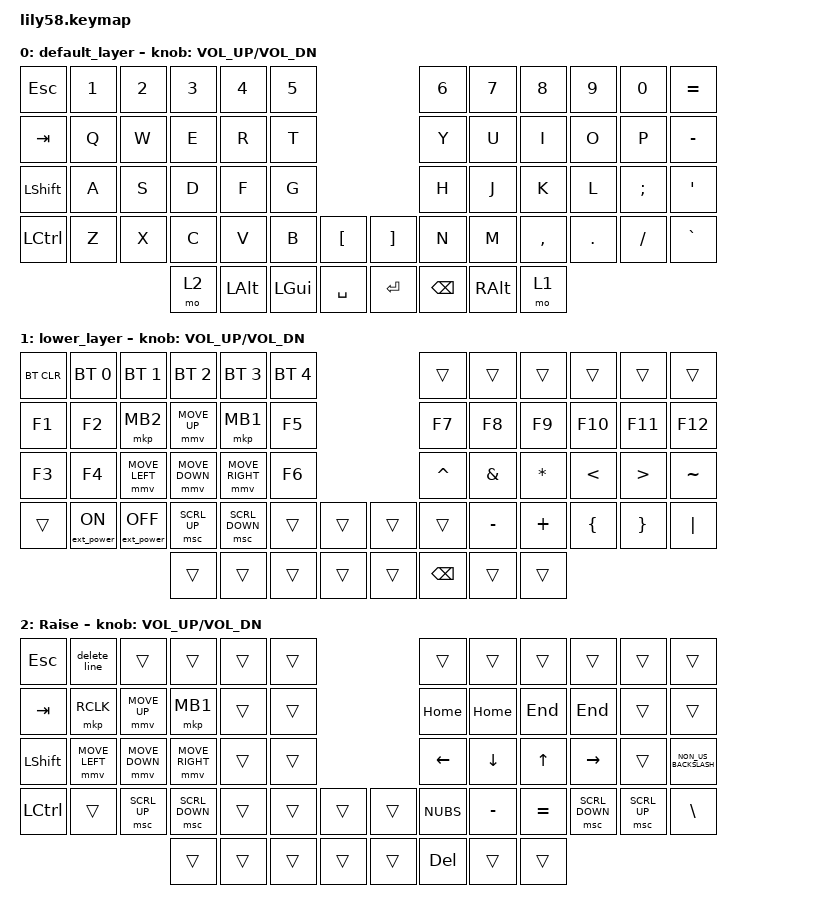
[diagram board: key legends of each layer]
#define ZMK_POINTING_DEFAULT_MOVE_VAL 1500  // default: 600
#define ZMK_POINTING_DEFAULT_SCRL_VAL 20    // default: 10

#include <behaviors.dtsi>
#include <dt-bindings/zmk/bt.h>
#include <dt-bindings/zmk/ext_power.h>
#include <dt-bindings/zmk/keys.h>
#include <dt-bindings/zmk/pointing.h>

/ {
    macros {
        delete_line: delete_line {
            compatible = "zmk,behavior-macro";
            #binding-cells = <0>;
            bindings = <&kp HOME &kp LS(END) &kp DELETE>;
            label = "DELETE_LINE";
        };
    };

    keymap {
        compatible = "zmk,keymap";

        default_layer {
            // ------------------------------------------------------------------------------------------------------------
            // |  ESC  |  1  |  2  |  3   |  4   |  5   |                   |  6   |  7    |  8    |  9   |   0   |   `   |
            // |  TAB  |  Q  |  W  |  E   |  R   |  T   |                   |  Y   |  U    |  I    |  O   |   P   |   -   |
            // | SHIFT |  A  |  S  |  D   |  F   |  G   |                   |  H   |  J    |  K    |  L   |   ;   |   '   |
            // |  CTRL |  Z  |  X  |  C   |  V   |  B   |   "["  |  |  "]"  |  N   |  M    |  ,    |  .   |   /   | CTRL  |
            //                     | LOWER|  GUI |  ALT |  SPACE |  | ENTER | BSPC | SHIFT | RAISE |

            bindings = <
&kp ESC     &kp N1  &kp N2  &kp N3  &kp N4    &kp N5                           &kp N6         &kp N7         &kp N8     &kp N9   &kp N0    &kp EQUAL
&kp TAB     &kp Q   &kp W   &kp E   &kp R     &kp T                            &kp Y          &kp U          &kp I      &kp O    &kp P     &kp MINUS
&kp LSHIFT  &kp A   &kp S   &kp D   &kp F     &kp G                            &kp H          &kp J          &kp K      &kp L    &kp SEMI  &kp SQT
&kp LCTRL   &kp Z   &kp X   &kp C   &kp V     &kp B     &kp LBKT     &kp RBKT  &kp N          &kp M          &kp COMMA  &kp DOT  &kp FSLH  &kp GRAVE
                            &mo 2   &kp LALT  &kp LGUI  &kp SPACE    &kp RET   &kp BACKSPACE  &kp RIGHT_ALT  &mo 1
            >;

            sensor-bindings = <&inc_dec_kp C_VOL_UP C_VOL_DN>;
        };

        lower_layer {
            // ------------------------------------------------------------------------------------------------------------
            // | BTCLR | BT1 | BT2 |  BT3 |  BT4 |  BT5 |                   |      |       |       |      |       |       |
            // |  F1   |  F2 |  F3 |  F4  |  F5  |  F6  |                   |  F7  |  F8   |  F9   |  F10 |  F11  |  F12  |
            // |   `   |  !  |  @  |  #   |  $   |  %   |                   |  ^   |  &    |  *    |  (   |   )   |   ~   |
            // |       |     |     |      |      |      |        |  |       |      |  _    |  +    |  {   |   }   |  "|"  |
            //                     |      |      |      |        |  |       |      |       |       |

            bindings = <
&bt BT_CLR  &bt BT_SEL 0      &bt BT_SEL 1       &bt BT_SEL 2    &bt BT_SEL 3     &bt BT_SEL 4                    &trans         &trans     &trans     &trans         &trans            &trans
&kp F1      &kp F2            &mkp MB2           &mmv MOVE_UP    &mkp MB1         &kp F5                          &kp F7         &kp F8     &kp F9     &kp F10        &kp F11           &kp F12
&kp F3      &kp F4            &mmv MOVE_LEFT     &mmv MOVE_DOWN  &mmv MOVE_RIGHT  &kp F6                          &kp CARET      &kp AMPS   &kp ASTRK  &kp LESS_THAN  &kp GREATER_THAN  &kp TILDE
&trans      &ext_power EP_ON  &ext_power EP_OFF  &msc SCRL_UP    &msc SCRL_DOWN   &trans        &trans    &trans  &trans         &kp MINUS  &kp PLUS   &kp LBRC       &kp RBRC          &kp PIPE
                                                 &trans          &trans           &trans        &trans    &trans  &kp BACKSPACE  &trans     &trans
            >;

            sensor-bindings = <&inc_dec_kp C_VOL_UP C_VOL_DN>;
        };

        Raise {
            // ------------------------------------------------------------------------------------------------------------
            // |       |     |     |      |      |      |                   |      |       |       |      |       |       |
            // |   `   |  1  |  2  |  3   |  4   |  5   |                   |  6   |   7   |   8   |  9   |   0   |       |
            // |   F1  |  F2 |  F3 |  F4  |  F5  |  F6  |                   |      |   <-  |   v   |  ^   |  ->   |       |
            // |   F7  |  F8 |  F9 |  F10 |  F11 |  F12 |        |  |       |  +   |   -   |   =   |  [   |   ]   |   \   |
            //                     |      |      |      |        |  |       |      |       |       |

            bindings = <
&kp ESCAPE      &delete_line    &trans          &trans           &trans  &trans                    &trans      &trans          &trans        &trans          &trans        &trans
&kp TAB         &mkp RCLK       &mmv MOVE_UP    &mkp MB1         &trans  &trans                    &kp HOME    &kp HOME        &kp END       &kp END         &trans        &trans
&kp LEFT_SHIFT  &mmv MOVE_LEFT  &mmv MOVE_DOWN  &mmv MOVE_RIGHT  &trans  &trans                    &kp LEFT    &kp DOWN_ARROW  &kp UP_ARROW  &kp RIGHT       &trans        &kp NON_US_BACKSLASH
&kp LCTRL       &trans          &msc SCRL_UP    &msc SCRL_DOWN   &trans  &trans  &trans    &trans  &kp NUBS    &kp MINUS       &kp EQUAL     &msc SCRL_DOWN  &msc SCRL_UP  &kp BSLH
                                                &trans           &trans  &trans  &trans    &trans  &kp DELETE  &trans          &trans
            >;

            sensor-bindings = <&inc_dec_kp C_VOL_UP C_VOL_DN>;
        };
    };
};
